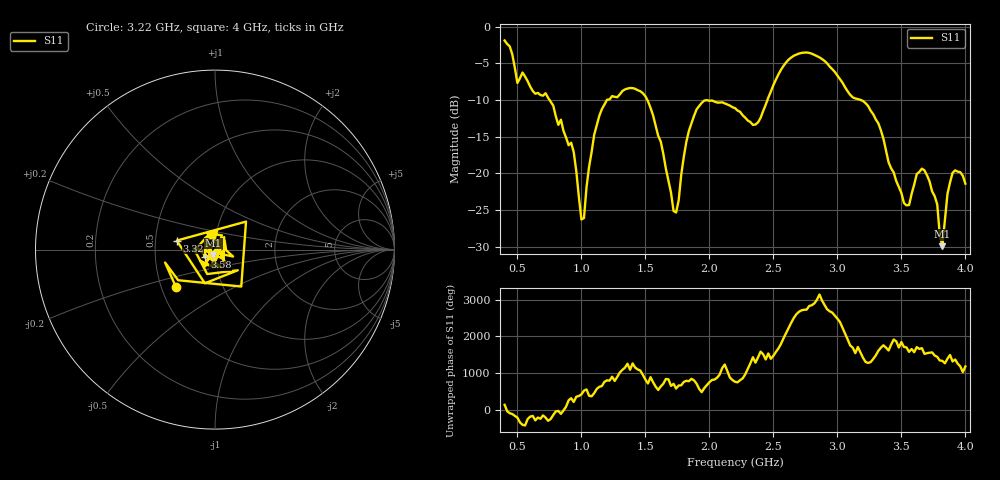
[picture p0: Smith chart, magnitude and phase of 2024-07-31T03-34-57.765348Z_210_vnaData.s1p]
!Created with skrf (http://scikit-rf.org).
# Hz S RI R 50.0
!freq ReS11 ImS11
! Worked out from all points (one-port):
!   181 points, 400 MHz to 4 GHz, reference 50 ohm
!   lowest |S11| = -29.9 dB at 3.82 GHz (marker M1), VSWR 1.07, Z = 48.9 - j2.98 ohm
!   |S11| at or under -10 dB: 750.8 MHz to 1.199 GHz (448.5 MHz wide, 46 % of centre); 1.515 GHz to 2.454 GHz (938.7 MHz wide, 47.3 % of centre); 3.181 GHz to end of sweep
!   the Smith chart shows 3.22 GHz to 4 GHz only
!   S11 on the Smith chart (normalised r, x): 3.22 GHz: 0.60, -0.27; 3.32 GHz: 0.65, +0.07; 3.58 GHz: 0.89, -0.08; 4 GHz: 0.96, +0.16
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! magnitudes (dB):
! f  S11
! 400 MHz  -1.9
! 500 MHz  -7.7
! 720 MHz  -9.1
! 860 MHz  -14.2
! 940 MHz  -17.1
! 1 GHz  -26.3
! 1.02 GHz  -26.1
! 1.14 GHz  -12.2
! 1.3 GHz  -9.3
! 1.5 GHz  -9.5
! 1.62 GHz  -15.7
! 1.72 GHz  -25.1
! 1.76 GHz  -23.7
! 1.82 GHz  -15.7
! 1.9 GHz  -11.3
! 2.2 GHz  -11.1
! 2.38 GHz  -13.1
! 2.66 GHz  -4.0
! 3.1 GHz  -9.3
! 3.22 GHz  -10.4
! 3.32 GHz  -13.2
! 3.56 GHz  -24.3
! 3.58 GHz  -22.8
! 3.68 GHz  -19.6
! 3.78 GHz  -24.2
! 3.82 GHz  -29.9
! 3.9 GHz  -19.9
! 4 GHz  -21.4
